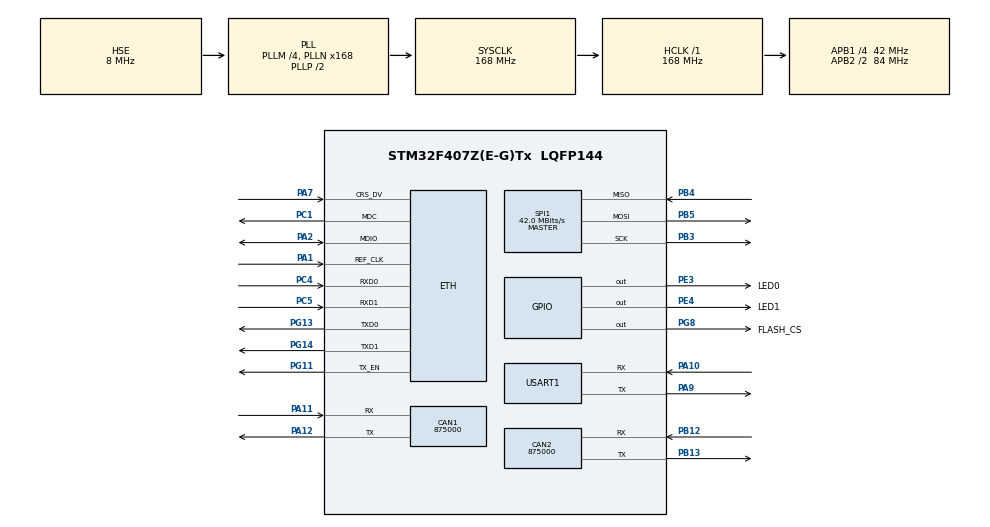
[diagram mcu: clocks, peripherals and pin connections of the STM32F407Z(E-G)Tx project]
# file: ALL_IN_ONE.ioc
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CAN1.CalculateBaudRate=875000
CAN1.CalculateTimeBit=1142
CAN1.CalculateTimeQuantum=380.95238095238096
CAN2.CalculateBaudRate=875000
CAN2.CalculateTimeBit=1142
CAN2.CalculateTimeQuantum=380.95238095238096
Dma.Request0=USART1_TX
Dma.Request1=USART1_RX
Dma.Request2=SPI1_TX
Dma.Request3=SPI1_RX
Dma.SPI1_RX.3.Direction=DMA_PERIPH_TO_MEMORY
Dma.SPI1_RX.3.FIFOMode=DMA_FIFOMODE_DISABLE
Dma.SPI1_RX.3.Instance=DMA2_Stream0
Dma.SPI1_RX.3.MemDataAlignment=DMA_MDATAALIGN_BYTE
Dma.SPI1_RX.3.MemInc=DMA_MINC_ENABLE
Dma.SPI1_RX.3.Mode=DMA_NORMAL
Dma.SPI1_RX.3.PeriphDataAlignment=DMA_PDATAALIGN_BYTE
Dma.SPI1_RX.3.PeriphInc=DMA_PINC_DISABLE
Dma.SPI1_RX.3.Priority=DMA_PRIORITY_LOW
Dma.SPI1_TX.2.Direction=DMA_MEMORY_TO_PERIPH
Dma.SPI1_TX.2.FIFOMode=DMA_FIFOMODE_DISABLE
Dma.SPI1_TX.2.Instance=DMA2_Stream3
Dma.SPI1_TX.2.MemDataAlignment=DMA_MDATAALIGN_BYTE
Dma.SPI1_TX.2.MemInc=DMA_MINC_ENABLE
Dma.SPI1_TX.2.Mode=DMA_NORMAL
Dma.SPI1_TX.2.PeriphDataAlignment=DMA_PDATAALIGN_BYTE
Dma.SPI1_TX.2.PeriphInc=DMA_PINC_DISABLE
Dma.SPI1_TX.2.Priority=DMA_PRIORITY_LOW
Dma.USART1_RX.1.Direction=DMA_PERIPH_TO_MEMORY
Dma.USART1_RX.1.FIFOMode=DMA_FIFOMODE_DISABLE
Dma.USART1_RX.1.Instance=DMA2_Stream2
Dma.USART1_RX.1.MemDataAlignment=DMA_MDATAALIGN_BYTE
Dma.USART1_RX.1.MemInc=DMA_MINC_ENABLE
Dma.USART1_RX.1.Mode=DMA_NORMAL
Dma.USART1_RX.1.PeriphDataAlignment=DMA_PDATAALIGN_BYTE
Dma.USART1_RX.1.PeriphInc=DMA_PINC_DISABLE
Dma.USART1_RX.1.Priority=DMA_PRIORITY_LOW
Dma.USART1_TX.0.Direction=DMA_MEMORY_TO_PERIPH
Dma.USART1_TX.0.FIFOMode=DMA_FIFOMODE_DISABLE
Dma.USART1_TX.0.Instance=DMA2_Stream7
Dma.USART1_TX.0.MemDataAlignment=DMA_MDATAALIGN_BYTE
Dma.USART1_TX.0.MemInc=DMA_MINC_ENABLE
Dma.USART1_TX.0.Mode=DMA_NORMAL
Dma.USART1_TX.0.PeriphDataAlignment=DMA_PDATAALIGN_BYTE
Dma.USART1_TX.0.PeriphInc=DMA_PINC_DISABLE
Dma.USART1_TX.0.Priority=DMA_PRIORITY_LOW
ETH.MediaInterface=HAL_ETH_RMII_MODE
FREERTOS.Tasks01=defaultTask,24,128,StartDefaultTask,Default,NULL,Dynamic,NULL,NULL
FREERTOS.configENABLE_FPU=1
FREERTOS.configTOTAL_HEAP_SIZE=0x7000
FREERTOS.configUSE_NEWLIB_REENTRANT=1
LWIP.BSP.number=1
LWIP.GATEWAY_ADDRESS=192.168.011.001
LWIP.IP_ADDRESS=192.168.011.101
LWIP.LWIP_DHCP=0
LWIP.NETMASK_ADDRESS=255.255.255.000
LWIP.Version=v2.1.2_Cube
LWIP0.BSP.STBoard=false
LWIP0.BSP.api=BSP_COMPONENT_DRIVER
LWIP0.BSP.component=DP83848
LWIP0.BSP.instance=DP83848
LWIP0.BSP.name=Driver_PHY
LWIP0.BSP.semaphore=S_DP83848
LWIP0.BSP.solution=DP83848
Mcu.Family=STM32F4
Mcu.Name=STM32F407Z(E-G)Tx
Mcu.Package=LQFP144
NVIC.DMA2_Stream0_IRQn=true\:5\:0\:false\:false\:true\:true\:false\:true\:true
NVIC.DMA2_Stream2_IRQn=true\:5\:0\:false\:false\:true\:true\:false\:true\:true
NVIC.DMA2_Stream3_IRQn=true\:5\:0\:false\:false\:true\:true\:false\:true\:true
NVIC.DMA2_Stream7_IRQn=true\:5\:0\:false\:false\:true\:true\:false\:true\:true
NVIC.ETH_IRQn=true\:5\:0\:false\:false\:true\:true\:false\:true\:true
NVIC.PVD_IRQn=true\:5\:0\:false\:false\:true\:true\:true\:true\:true
NVIC.PriorityGroup=NVIC_PRIORITYGROUP_4
NVIC.SPI1_IRQn=true\:5\:0\:false\:false\:true\:true\:true\:true\:true
NVIC.TIM2_IRQn=true\:15\:0\:false\:false\:true\:false\:false\:true\:true
NVIC.TimeBase=TIM2_IRQn
NVIC.TimeBaseIP=TIM2
NVIC.USART1_IRQn=true\:5\:0\:false\:false\:true\:true\:true\:true\:true
PA1.Mode=RMII
PA1.Signal=ETH_REF_CLK
PA10.Mode=Asynchronous
PA10.Signal=USART1_RX
PA11.Mode=CAN_Activate
PA11.Signal=CAN1_RX
PA12.Mode=CAN_Activate
PA12.Signal=CAN1_TX
PA13.Mode=Serial_Wire
PA13.Signal=SYS_JTMS-SWDIO
PA14.Mode=Serial_Wire
PA14.Signal=SYS_JTCK-SWCLK
PA2.Mode=RMII
PA2.Signal=ETH_MDIO
PA7.Mode=RMII
PA7.Signal=ETH_CRS_DV
PA9.Mode=Asynchronous
PA9.Signal=USART1_TX
PB12.Mode=CAN_Activate
PB12.Signal=CAN2_RX
PB13.Mode=CAN_Activate
PB13.Signal=CAN2_TX
PB3.Mode=Full_Duplex_Master
PB3.Signal=SPI1_SCK
PB4.Mode=Full_Duplex_Master
PB4.Signal=SPI1_MISO
PB5.Mode=Full_Duplex_Master
PB5.Signal=SPI1_MOSI
PC1.Mode=RMII
PC1.Signal=ETH_MDC
PC14-OSC32_IN.Mode=LSE-External-Oscillator
PC14-OSC32_IN.Signal=RCC_OSC32_IN
PC15-OSC32_OUT.Mode=LSE-External-Oscillator
PC15-OSC32_OUT.Signal=RCC_OSC32_OUT
PC4.Mode=RMII
PC4.Signal=ETH_RXD0
PC5.Mode=RMII
PC5.Signal=ETH_RXD1
PE3.GPIO_Label=LED0
PE3.Signal=GPIO_Output
PE4.GPIO_Label=LED1
PE4.Signal=GPIO_Output
PG11.Mode=RMII
PG11.Signal=ETH_TX_EN
PG13.Mode=RMII
PG13.Signal=ETH_TXD0
PG14.Mode=RMII
PG14.Signal=ETH_TXD1
PG8.GPIO_Label=FLASH_CS
PG8.Signal=GPIO_Output
PH0-OSC_IN.Mode=HSE-External-Oscillator
PH0-OSC_IN.Signal=RCC_OSC_IN
PH1-OSC_OUT.Mode=HSE-External-Oscillator
PH1-OSC_OUT.Signal=RCC_OSC_OUT
ProjectManager.HeapSize=0x200
ProjectManager.StackSize=0x4000
ProjectManager.TargetToolchain=STM32CubeIDE
RCC.48MHZClocksFreq_Value=84000000
RCC.AHBFreq_Value=168000000
RCC.APB1CLKDivider=RCC_HCLK_DIV4
RCC.APB1Freq_Value=42000000
RCC.APB1TimFreq_Value=84000000
RCC.APB2CLKDivider=RCC_HCLK_DIV2
RCC.APB2Freq_Value=84000000
RCC.APB2TimFreq_Value=168000000
RCC.CortexFreq_Value=168000000
RCC.HCLKFreq_Value=168000000
RCC.HSE_VALUE=8000000
RCC.HSI_VALUE=16000000
RCC.PLLM=4
RCC.PLLN=168
RCC.PLLSourceVirtual=RCC_PLLSOURCE_HSE
RCC.SYSCLKFreq_VALUE=168000000
RCC.SYSCLKSource=RCC_SYSCLKSOURCE_PLLCLK
RCC.VCOOutputFreq_Value=336000000
SPI1.CalculateBaudRate=42.0 MBits/s
SPI1.Direction=SPI_DIRECTION_2LINES
SPI1.Mode=SPI_MODE_MASTER
SPI1.VirtualType=VM_MASTER
USART1.VirtualMode=VM_ASYNC
VP_FREERTOS_VS_CMSIS_V2.Mode=CMSIS_V2
VP_LWIP_VS_Enabled.Mode=Enabled
VP_SYS_VS_tim2.Mode=TIM2
board=custom

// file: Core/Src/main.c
/* USER CODE BEGIN Header */
/**
  ******************************************************************************
  * @file           : main.c
  * @brief          : Main program body
  ******************************************************************************
  * @attention
  *
  * Copyright (c) 2026 STMicroelectronics.
  * All rights reserved.
  *
  * This software is licensed under terms that can be found in the LICENSE file
  * in the root directory of this software component.
  * If no LICENSE file comes with this software, it is provided AS-IS.
  *
  ******************************************************************************
  */
/* USER CODE END Header */
#include "main.h"
#include "cmsis_os.h"
#include "can.h"
#include "dma.h"
#include "lwip.h"
#include "spi.h"
#include "usart.h"
#include "gpio.h"

void SystemClock_Config(void);
void MX_FREERTOS_Init(void);

int main(void)
{

  /* MCU Configuration--------------------------------------------------------*/

  /* Reset of all peripherals, Initializes the Flash interface and the Systick. */
  HAL_Init();

  /* Configure the system clock */
  SystemClock_Config();

  /* Initialize all configured peripherals */
  MX_GPIO_Init();
  MX_DMA_Init();
  MX_CAN1_Init();
  MX_CAN2_Init();
  MX_SPI1_Init();
  MX_USART1_UART_Init();

  /* Init scheduler */
  osKernelInitialize();  /* Call init function for freertos objects (in freertos.c) */
  MX_FREERTOS_Init();

  /* Start scheduler */
  osKernelStart();

  /* We should never get here as control is now taken by the scheduler */
  /* Infinite loop */
  while (1)
  {

  }
}

void SystemClock_Config(void)
{
  RCC_OscInitTypeDef RCC_OscInitStruct = {0};
  RCC_ClkInitTypeDef RCC_ClkInitStruct = {0};

  /** Configure the main internal regulator output voltage
  */
  __HAL_RCC_PWR_CLK_ENABLE();
  __HAL_PWR_VOLTAGESCALING_CONFIG(PWR_REGULATOR_VOLTAGE_SCALE1);

  /** Initializes the RCC Oscillators according to the specified parameters
  * in the RCC_OscInitTypeDef structure.
  */
  RCC_OscInitStruct.OscillatorType = RCC_OSCILLATORTYPE_HSE;
  RCC_OscInitStruct.HSEState = RCC_HSE_ON;
  RCC_OscInitStruct.PLL.PLLState = RCC_PLL_ON;
  RCC_OscInitStruct.PLL.PLLSource = RCC_PLLSOURCE_HSE;
  RCC_OscInitStruct.PLL.PLLM = 4;
  RCC_OscInitStruct.PLL.PLLN = 168;
  RCC_OscInitStruct.PLL.PLLP = RCC_PLLP_DIV2;
  RCC_OscInitStruct.PLL.PLLQ = 4;
  if (HAL_RCC_OscConfig(&RCC_OscInitStruct) != HAL_OK)
  {
    Error_Handler();
  }

  /** Initializes the CPU, AHB and APB buses clocks
  */
  RCC_ClkInitStruct.ClockType = RCC_CLOCKTYPE_HCLK|RCC_CLOCKTYPE_SYSCLK
                              |RCC_CLOCKTYPE_PCLK1|RCC_CLOCKTYPE_PCLK2;
  RCC_ClkInitStruct.SYSCLKSource = RCC_SYSCLKSOURCE_PLLCLK;
  RCC_ClkInitStruct.AHBCLKDivider = RCC_SYSCLK_DIV1;
  RCC_ClkInitStruct.APB1CLKDivider = RCC_HCLK_DIV4;
  RCC_ClkInitStruct.APB2CLKDivider = RCC_HCLK_DIV2;

  if (HAL_RCC_ClockConfig(&RCC_ClkInitStruct, FLASH_LATENCY_5) != HAL_OK)
  {
    Error_Handler();
  }
}

void HAL_TIM_PeriodElapsedCallback(TIM_HandleTypeDef *htim)
{
  if (htim->Instance == TIM2) {
    HAL_IncTick();
  }
}

void Error_Handler(void)
{
  __disable_irq();
  while (1)
  {
  }
}

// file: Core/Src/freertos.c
/* USER CODE BEGIN Header */
/**
  ******************************************************************************
  * File Name          : freertos.c
  * Description        : Code for freertos applications
  ******************************************************************************
  * @attention
  *
  * Copyright (c) 2026 STMicroelectronics.
  * All rights reserved.
  *
  * This software is licensed under terms that can be found in the LICENSE file
  * in the root directory of this software component.
  * If no LICENSE file comes with this software, it is provided AS-IS.
  *
  ******************************************************************************
  */
/* USER CODE END Header */

#include "FreeRTOS.h"
#include "task.h"
#include "main.h"
#include "cmsis_os.h"

/* USER CODE BEGIN Includes */
#include "usart.h"
#include "dma.h"
#include "spi.h"
#include "FreeRTOS_CLI.h"
#include "uart_ringbuf.h"
#include "serial.h"
#include "lwip_test_cmds.h"
#include "echo_srv.h"        /* vRegisterEchoSrvCommands：echo_tcp_srv/udp_srv/stop/status */
#include <string.h>          /* strlen()：栈溢出钩子中打印任务名 */
#include "bsp_init.h"        /* bsp_init()：BSP 各驱动模块注册初始化 */
#include "elog.h"            /* elog_set_filter_lvl()：EasyLogger 过滤级别 */
#include "elog_file_cfg.h"
#include "pvd_detection.h"   /* pvd_init/pvd_mark_ready/pvd_poll_handler() */
#include "ota_core.h"        /* ota_init/ota_task_start()：A/B 双区 OTA */
/* 注：elog_file.h 未被本文件直接使用（日志落盘�? pvd_detection.c 内）�?
 * uart_ringbuf.h / serial.h 已在上方包含，故不再重复放开 */

/* USER CODE END Includes */

/* USER CODE BEGIN Variables */
/* Definitions for myTask */
osThreadId_t myTaskHandle;
const osThreadAttr_t myTask_attributes = {
  .name = "myTask",
  /* �????? 4096 字节(1K words)�?????
   * myTask 在本 LwIP 测试版中内联执行 MX_LWIP_Init()，调用链
   *  StartMyTask→MX_LWIP_Init→netif_add→ethernetif_init→low_level_init
   *  →HAL_ETH_Init/DP83848_Init�?????-O0 下峰值约 1.5KB；且�????? USART1/ETH
   *  中断抢占�????? ISR 帧复用本任务栈�?�故�????? 4096 而非�????? OTA 版的 2048�?????
   * �????? 3072*4=12KB �????? OTA/PVD 版残留，占用堆过多直接挤�????? 28KB 堆�?? */
  .stack_size = 4096,
  .priority = (osPriority_t) osPriorityLow,
};

extern uint8_t usart_rx_over;
extern uint8_t rx_buff[USART_BUFF_SIZE];
extern DMA_HandleTypeDef hdma_usart1_rx;
extern DMA_HandleTypeDef hdma_usart1_tx;

/* USER CODE END Variables */
/* Definitions for defaultTask */
osThreadId_t defaultTaskHandle;
const osThreadAttr_t defaultTask_attributes = {
  .name = "defaultTask",
  .stack_size = 128 * 4,
  .priority = (osPriority_t) osPriorityNormal,
};

/* USER CODE BEGIN FunctionPrototypes */
/* 复位原因诊断输出（USART1 寄存器轮询）�?????
 * system_pre_init �????? MX_FREERTOS_Init（创建任务�?�启动调度器）之前调用，
 * 此时 UART DMA / 环形缓冲 / 队列均不可用，故直接轮询 USART1 寄存�?????
 * 输出 RCC->CSR 复位标志。用于区分复位来源（POR/PIN/软件/看门�?????/掉电），
 * 帮助定位"死机-复位"循环（如断言挂死后被人为复位、或 BOR 掉电复位）�?? */
static void uart_poll_puts(const char *s)
{
    if (s == NULL) {
        return;
    }
    while (*s != '\0') {
        while ((USART1->SR & USART_SR_TXE) == 0U) {}
        USART1->DR = (uint8_t)*s;
        s++;
    }
}

static void uart_poll_puthex(uint32_t v)
{
    static const char hex_digits[] = "0123456789ABCDEF";
    char tmp[9];
    int i;

    for (i = 0; i < 8; i++) {
        tmp[i] = hex_digits[(v >> ((7 - i) * 4)) & 0x0Fu];
    }
    tmp[8] = '\0';
    uart_poll_puts(tmp);
}

static void system_pre_init(void) {
    uint32_t reset_flags = RCC->CSR;

    /* 清零 CCMRAM BSS 段（.ccmram_bss 为 NOLOAD，startup 仅清普通 .bss）。
     * OTA/日志/CLI 缓冲在调度器启动后才被使用，此处清零必须先于一切使用点。 */
    extern uint8_t _sccmram_bss;
    extern uint8_t _eccmram_bss;
    {
        uint8_t *p = &_sccmram_bss;
        uint32_t len = (uint32_t)&_eccmram_bss - (uint32_t)&_sccmram_bss;

        while (len > 0u) {
            *p = 0u;
            p++;
            len--;
        }
    }

    uart_poll_puts("\r\n[BOOT] RCC_CSR=0x");
    uart_poll_puthex(reset_flags);
    uart_poll_puts(" (");

    if (reset_flags & RCC_CSR_LPWRRSTF) uart_poll_puts("LOWPOWER ");
    if (reset_flags & RCC_CSR_WWDGRSTF) uart_poll_puts("WWDG ");
    if (reset_flags & RCC_CSR_IWDGRSTF) uart_poll_puts("IWDG ");
    if (reset_flags & RCC_CSR_SFTRSTF)  uart_poll_puts("SOFTWARE ");
    if (reset_flags & RCC_CSR_PORRSTF)  uart_poll_puts("POR ");
    if (reset_flags & RCC_CSR_PINRSTF)  uart_poll_puts("PIN ");
    if (reset_flags & RCC_CSR_BORRSTF)  uart_poll_puts("BOR ");
    if (reset_flags == 0)               uart_poll_puts("NONE");

    uart_poll_puts(")\r\n");
    /* 清除复位标志：保证下�?????次复位时读到的是当次真实的复位来�????? */
    RCC->CSR |= RCC_CSR_RMVF;
}
void StartMyTask(void *argument);
/* USER CODE END FunctionPrototypes */

void StartDefaultTask(void *argument);

extern void MX_LWIP_Init(void);
void MX_FREERTOS_Init(void); /* (MISRA C 2004 rule 8.1) */

void MX_FREERTOS_Init(void) {
  /* USER CODE BEGIN Init */
	system_pre_init();
  /* USER CODE END Init */

  /* Create the thread(s) */
  /* creation of defaultTask */
  defaultTaskHandle = osThreadNew(StartDefaultTask, NULL, &defaultTask_attributes);

  /* USER CODE BEGIN RTOS_THREADS */
  /* add threads, ... */
  myTaskHandle = osThreadNew(StartMyTask, NULL, &myTask_attributes);
  /* USER CODE END RTOS_THREADS */

}

void StartDefaultTask(void *argument)
{
  /* init code for LWIP */
//  MX_LWIP_Init();
  /* USER CODE BEGIN StartDefaultTask */
  /* Infinite loop */
  for(;;)
  {
    osDelay(1000);
    HAL_GPIO_TogglePin(LED0_GPIO_Port, LED0_Pin);
  }
  /* USER CODE END StartDefaultTask */
}

/* USER CODE BEGIN Application */
void StartMyTask(void *argument)
{

	int bsp_ret = bsp_init(&huart1, &hspi1);
	if (bsp_ret != 0) {
		uart_rb_write((uint8_t*) "BSP init failed!\r\n", sizeof("BSP init failed!\r\n"));
	}
    pvd_init();
    elog_set_filter_lvl(ELOG_LVL_ERROR);
    pvd_mark_ready();

    vRegisterSampleCLICommands();
    /* 注册 LwIP 网络诊断命令（ifconfig/arp/route/ping/tcp_test/
     * udp_test/lwip_test），�? CLI 任务启动前注册，命令执行�? LwIP 已初始化 */
    vRegisterLwipTestCommands();
    /* 注册 echo server 调试命令（echo_tcp_srv/echo_udp_srv/echo_stop/echo_status）：
     * 设备作为 TCP/UDP server 监听端口，PC 用 NetAssist 作为 client 发送指令，
     * 设备把收到的数据原样回传（echo），用于交互式链路调试。 */
    vRegisterEchoSrvCommands();
    /* CLI task priority lowered below myTask (osPriorityLow): it only
     * polls the UART, so a PVD event handled by myTask must never wait
     * for the CLI to yield. */
    vUARTCommandConsoleStart(1024, osPriorityIdle);

    /* CLI 任务完成 xSerialPortInitMinimal() 创建接收队列后再启动
     * UART RX DMA：避免中断回调向未创建的空队列投递字符触发断�?�?
     * 之后每次 IDLE 完成�? usart.c �? HAL_UARTEx_RxEventCallback 重新
     * 启动接收（RX 链路的唯�?首次启动点，缺失�? CLI 收不到任何输入）�? */
    osDelay(200);
    HAL_UARTEx_ReceiveToIdle_DMA(&huart1, rx_buff, USART_BUFF_SIZE);
    __HAL_DMA_DISABLE_IT(&hdma_usart1_rx, DMA_IT_HT);

    /* OTA：初始化参数区并启动vOTATask（静态分配，常驻后台接收升级命令�???????????????? */
    ota_init();
    ota_task_start();

    /* init code for LWIP */
    /* 手动 LwIP �????后初始化（defaultTask 中的 MX_LWIP_Init 已注释）�????
     * 本任务先完成 uart_rb_register/CLI 启动，再调用 MX_LWIP_Init()�????
     * 保证 LwIP 初始化时串口日志通道已就绪�??
     * lwip.c 内另�????"幂等 + uart_rb 就绪"守卫，即�???? defaultTask 再次
     * 调用也不会重复初始化（曾因重�???? tcpip_init/netif_add 导致
     * netif 链表自环、信号量/线程重复创建，触�???? port.c:415 断言）�?? */
    MX_LWIP_Init();

    /* Infinite loop */
    for (;;) {

        /* Soft-delay poll period ~1ms: yield CPU, then check PVD event.
         * pvd_poll_handler fast-returns when no event is pending. */
        osDelay(1);

#if (!ELOG_FILE_SYNC_ON_WRITE)
        extern void elog_file_flush_all(void);
        static uint32_t last_flush_tick = 0;
        uint32_t now = HAL_GetTick();
        if (now - last_flush_tick >= ELOG_FILE_FLUSH_INTERVAL_MS) {
            elog_file_flush_all();
            last_flush_tick = now;
        }
#else
        pvd_poll_handler();
#endif

    }
}

/* 栈溢出钩子：FreeRTOS �?????测到任务栈溢出（configCHECK_FOR_STACK_OVERFLOW=2�?????
 * 时调用�?�输出肇事任务名，然后挂起�?��?�用于快速区�?????"栈溢�?????"死机�?????
 * 注意：此钩子在任务上下文执行，uart_rb_write 安全�????? */
void vApplicationStackOverflowHook(TaskHandle_t xTask, char *pcTaskName)
{
    (void)xTask;
    uart_rb_write((uint8_t*) "\r\n[FATAL] Stack overflow in: ", sizeof("\r\n[FATAL] Stack overflow in: ") - 1);
    uart_rb_write((uint8_t*)pcTaskName, strlen(pcTaskName));
    uart_rb_write((uint8_t*) "\r\n", 2);
    taskDISABLE_INTERRUPTS();
    for(;;);
}

/* 内存分配失败钩子：pvPortMalloc 失败（堆耗尽）时调用�?????次，
 * 用于区分"内存不足"类死机�?? */
void vApplicationMallocFailedHook(void)
{
    uart_rb_write((uint8_t*) "\r\n[FATAL] malloc failed!\r\n", sizeof("\r\n[FATAL] malloc failed!\r\n") - 1);
    taskDISABLE_INTERRUPTS();
    for(;;);
}

/* 十进制输出（寄存器轮询，任何上下文安全）；用于打�???? IPSR/VECTACTIVE */
static void uart_poll_putdec(uint32_t v)
{
    char digits[12];
    int idx = 0;

    do {
        digits[idx++] = (char)('0' + (v % 10));
        v /= 10;
    } while (v > 0);

    while (idx > 0) {
        idx--;
        while ((USART1->SR & USART_SR_TXE) == 0U) {}
        USART1->DR = (uint8_t)digits[idx];
    }
}

/* FreeRTOS 断言增强诊断：在原有 "文件:行号" 基础上追加上下文信息，用�????
 * 精确定位 port.c:415 这类"ISR 中调用非 FromISR 临界�????"断言�????
 *   [A] IPSR=xx VECTACTIVE=xx
 *       当前异常编号�????0=线程模式）�?�port.c:415 断言等价�???? VECTACTIVE!=0�????
 *       此�?�可直接映射�???? NVIC 中断号（VECTACTIVE - 16 = IRQn），
 *       从�?�锁定是哪个外设中断调用�???? taskENTER_CRITICAL�????
 *   [A] frame PC=0x... LR=0x...
 *       �???? Handler 栈（MSP）向上扫描，�????"xPSR �???? Thumb �???? + PC 落在 Flash"
 *       特征定位硬件异常帧，打印被中断现场的 PC/LR�????
 * 全部使用寄存器轮询输出：断言本身常由临界�????/中断违例引起，此时调度器�????
 * DMA、环形缓冲均不可信，�???? PVD/复位诊断同一策略�???? */
void prvAssertFailPrint(const char *file, int line)
{
    const char *p;
    const char *base;
    int n = line;
    uint32_t ipsr;
    uint32_t vectactive;

    /* 输出固定前缀 */
    p = "\r\n[ASSERT] ";
    while (*p != '\0') {
        while ((USART1->SR & USART_SR_TXE) == 0U) {}
        USART1->DR = (uint8_t)*p;
        p++;
    }

    /* 仅打印文件名（截取最后一�????? '/' �????? '\\' 之后的部分） */
    base = file;
    if (file != NULL) {
        while (*file != '\0') {
            if ((*file == '/') || (*file == '\\')) {
                base = file + 1;
            }
            file++;
        }
        p = base;
        while (*p != '\0') {
            while ((USART1->SR & USART_SR_TXE) == 0U) {}
            USART1->DR = (uint8_t)*p;
            p++;
        }
    }

    p = ":";
    while (*p != '\0') {
        while ((USART1->SR & USART_SR_TXE) == 0U) {}
        USART1->DR = (uint8_t)*p;
        p++;
    }

    /* 行号转十进制后�?�位输出 */
    if (n < 0) {
        n = -n;
    }
    {
        char digits[12];
        int idx = 0;

        do {
            digits[idx++] = (char)('0' + (n % 10));
            n /= 10;
        } while (n > 0);
        while (idx > 0) {
            idx--;
            while ((USART1->SR & USART_SR_TXE) == 0U) {}
            USART1->DR = (uint8_t)digits[idx];
        }
    }

    /* ---- 增强诊断：断�????上下文（当前异常�???? + 被中�???? PC/LR�???? ---- */
    ipsr = __get_IPSR();                    /* 当前执行异常编号 */
    vectactive = (SCB->ICSR) & 0x1FFUL;     /* ICSR[8:0]：活动异常号 */

    uart_poll_puts("\r\n[A] IPSR=");
    uart_poll_putdec(ipsr);
    uart_poll_puts(" VECTACTIVE=");
    uart_poll_putdec(vectactive);

    /* 尝试�???? MSP 向上扫描，按异常帧特征定位被中断现场 */
    {
        volatile uint32_t *sp = (volatile uint32_t *)__get_MSP();
        volatile uint32_t *end = sp + 64;
        uint32_t found = 0;

        while (sp < end) {
            uint32_t xpsr = sp[7];
            uint32_t pc   = sp[6];

            /* 异常�???? xPSR �???? Thumb �????(bit24)必须置位，且 PC 落在 Flash 程序�???? */
            if (((xpsr & 0x01000000UL) != 0UL) &&
                ((pc & 0xFFF00000UL) == 0x08000000UL)) {
                uart_poll_puts("\r\n[A] frame PC=0x");
                uart_poll_puthex(pc);
                uart_poll_puts(" LR=0x");
                uart_poll_puthex(sp[5]);
                found = 1;
                break;
            }
            sp++;
        }
        if (found == 0) {
            uart_poll_puts("\r\n[A] frame not-found");
        }
    }

    p = "\r\n";
    while (*p != '\0') {
        while ((USART1->SR & USART_SR_TXE) == 0U) {}
        USART1->DR = (uint8_t)*p;
        p++;
    }
}

/* USER CODE END Application */
